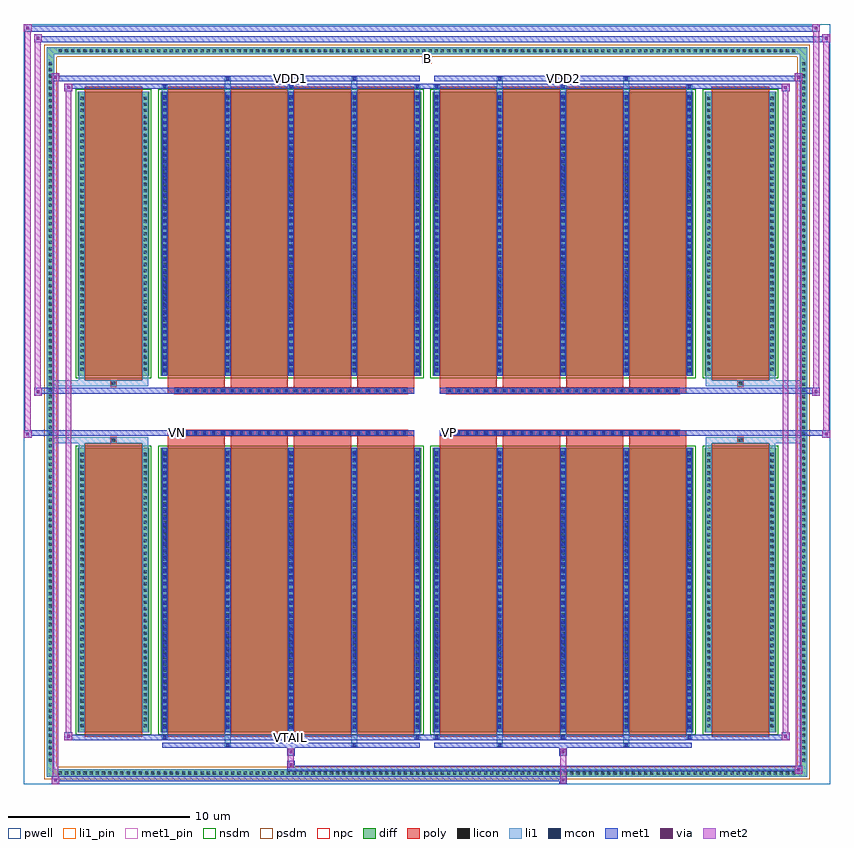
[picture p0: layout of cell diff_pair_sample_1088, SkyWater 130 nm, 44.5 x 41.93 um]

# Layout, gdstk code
import gdstk
lib = gdstk.Library(unit=1e-6, precision=5e-09)
def R(c, l, rs):  # rectangles x0, y0, x1, y1
    for r in rs: c.add(gdstk.rectangle(r[:2], r[2:], *l))
def A(c, l, x, y, w, h, nx, ny, dx, dy):  # array of equal rectangles
    R(c, l, [(x+i*dx, y+j*dy, x+i*dx+w, y+j*dy+h) for i in range(nx) for j in range(ny)])
def P(c, l, *ps):  # polygons
    for p in ps: c.add(gdstk.Polygon(p, *l))
pwell = (64, 44)
diff = (65, 20)
poly = (66, 20)
licon = (66, 44)
li1_pin = (67, 16)
li1 = (67, 20)
mcon = (67, 44)
met1_pin = (68, 16)
met1 = (68, 20)
via = (68, 44)
met2 = (69, 20)
nsdm = (93, 44)
psdm = (94, 20)
npc = (95, 20)

diff_pair_sample_1088 = lib.new_cell('diff_pair_sample_1088')
R(diff_pair_sample_1088, pwell, [(-22.25,-20.53,22.25,21.4), (-19.57,-18.72,-0.01,-0.8), (0.01,-18.72,19.57,-0.8), (-19.57,0.8,-0.01,18.72), (0.01,0.8,19.57,18.72)])
A(diff_pair_sample_1088, diff, -20.435, -20.13, 0.41, 0.41, 120, 2, 0.34, 39.85)
A(diff_pair_sample_1088, diff, -20.98, -19.415, 0.41, 0.41, 1, 114, 0, 0.34)
A(diff_pair_sample_1088, diff, 20.57, -19.415, 0.41, 0.41, 1, 114, 0, 0.34)
R(diff_pair_sample_1088, diff, [(-20.435,-20.13,20.435,-19.72), (-20.98,-19.415,-20.57,19.415), (20.57,-19.415,20.98,19.415), (-19.26,-17.675,-15.33,-1.985), (-14.69,-17.675,-0.32,-1.985), (0.32,-17.675,14.69,-1.985), (15.33,-17.675,19.26,-1.985), (-19.26,1.985,-15.33,17.675), (-14.69,1.985,-0.32,17.675), (0.32,1.985,14.69,17.675), (15.33,1.985,19.26,17.675), (-20.435,19.72,20.435,20.13)])
P(diff_pair_sample_1088, diff, [(20.98,20.13),(-20.98,20.13),(-20.98,-19.72),(-20.57,-19.72),(-20.57,19.72),(20.57,19.72),(20.57,-19.72),(-20.57,-19.72),(-20.98,-19.72),(-20.98,-20.13),(20.98,-20.13)])
A(diff_pair_sample_1088, poly, -14.3, -17.925, 3.15, 16.19, 4, 2, 3.48, 19.66)
A(diff_pair_sample_1088, poly, 0.71, -17.925, 3.15, 16.19, 4, 2, 3.48, 19.66)
A(diff_pair_sample_1088, poly, -14.3, -1.735, 3.15, 0.405, 4, 2, 3.48, 3.065)
A(diff_pair_sample_1088, poly, 0.71, -1.735, 3.15, 0.405, 4, 2, 3.48, 3.065)
A(diff_pair_sample_1088, poly, -13.92, -1.33, 0.33, 0.33, 26, 2, 0.5, 2.33)
A(diff_pair_sample_1088, poly, 1.09, -1.33, 0.33, 0.33, 26, 2, 0.5, 2.33)
R(diff_pair_sample_1088, poly, [(-18.87,-17.925,-15.72,-1.735), (15.72,-17.925,18.87,-1.735), (-17.46,-1.735,-17.13,-1.405), (-17.46,-1.735,-17.13,-1.405), (17.13,-1.735,17.46,-1.405), (17.13,-1.735,17.46,-1.405), (-14.3,-1.33,-0.71,-1), (0.71,-1.33,14.3,-1), (-14.3,1,-0.71,1.33), (0.71,1,14.3,1.33), (-17.46,1.405,-17.13,1.735), (-17.46,1.405,-17.13,1.735), (17.13,1.405,17.46,1.735), (17.13,1.405,17.46,1.735), (-18.87,1.735,-15.72,17.925), (15.72,1.735,18.87,17.925)])
A(diff_pair_sample_1088, licon, -20.315, -20.01, 0.17, 0.17, 120, 2, 0.34, 39.85)
A(diff_pair_sample_1088, licon, -20.86, -19.295, 0.17, 0.17, 1, 114, 0, 0.34)
A(diff_pair_sample_1088, licon, 20.69, -19.295, 0.17, 0.17, 1, 114, 0, 0.34)
A(diff_pair_sample_1088, licon, -19.12, -17.395, 0.17, 0.17, 1, 45, 0, 0.34)
A(diff_pair_sample_1088, licon, -15.64, -17.395, 0.17, 0.17, 1, 45, 0, 0.34)
A(diff_pair_sample_1088, licon, -14.55, -17.395, 0.17, 0.17, 5, 45, 3.48, 0.34)
A(diff_pair_sample_1088, licon, 0.46, -17.395, 0.17, 0.17, 5, 45, 3.48, 0.34)
A(diff_pair_sample_1088, licon, 15.47, -17.395, 0.17, 0.17, 1, 45, 0, 0.34)
A(diff_pair_sample_1088, licon, 18.95, -17.395, 0.17, 0.17, 1, 45, 0, 0.34)
A(diff_pair_sample_1088, licon, -13.84, -1.25, 0.17, 0.17, 26, 2, 0.5, 2.33)
A(diff_pair_sample_1088, licon, 1.17, -1.25, 0.17, 0.17, 26, 2, 0.5, 2.33)
A(diff_pair_sample_1088, licon, -19.12, 2.265, 0.17, 0.17, 1, 45, 0, 0.34)
A(diff_pair_sample_1088, licon, -15.64, 2.265, 0.17, 0.17, 1, 45, 0, 0.34)
A(diff_pair_sample_1088, licon, -14.55, 2.265, 0.17, 0.17, 5, 45, 3.48, 0.34)
A(diff_pair_sample_1088, licon, 0.46, 2.265, 0.17, 0.17, 5, 45, 3.48, 0.34)
A(diff_pair_sample_1088, licon, 15.47, 2.265, 0.17, 0.17, 1, 45, 0, 0.34)
A(diff_pair_sample_1088, licon, 18.95, 2.265, 0.17, 0.17, 1, 45, 0, 0.34)
R(diff_pair_sample_1088, licon, [(-17.38,-1.655,-17.21,-1.485), (17.21,-1.655,17.38,-1.485), (-17.38,1.485,-17.21,1.655), (17.21,1.485,17.38,1.655)])
R(diff_pair_sample_1088, li1_pin, [(-0.25,19.22,0.25,19.72)])
A(diff_pair_sample_1088, li1, -20.395, -20.09, 0.33, 0.33, 120, 2, 0.34, 39.85)
A(diff_pair_sample_1088, li1, -20.94, -19.375, 0.33, 0.33, 1, 114, 0, 0.34)
A(diff_pair_sample_1088, li1, 20.61, -19.375, 0.33, 0.33, 1, 114, 0, 0.34)
A(diff_pair_sample_1088, li1, -14.63, -18.05, 0.33, 0.375, 3, 2, 6.96, 35.725)
A(diff_pair_sample_1088, li1, -14.55, -18.05, 0.17, 0.17, 3, 2, 6.96, 35.93)
A(diff_pair_sample_1088, li1, 0.38, -18.05, 0.33, 0.375, 3, 2, 6.96, 35.725)
A(diff_pair_sample_1088, li1, 0.46, -18.05, 0.17, 0.17, 3, 2, 6.96, 35.93)
A(diff_pair_sample_1088, li1, -14.63, -17.675, 0.33, 15.69, 5, 2, 3.48, 19.66)
A(diff_pair_sample_1088, li1, 0.38, -17.675, 0.33, 15.69, 5, 2, 3.48, 19.66)
A(diff_pair_sample_1088, li1, -19.2, -17.475, 0.33, 0.33, 1, 45, 0, 0.34)
A(diff_pair_sample_1088, li1, -15.72, -17.475, 0.33, 0.33, 1, 45, 0, 0.34)
A(diff_pair_sample_1088, li1, -14.63, -17.475, 0.33, 0.33, 5, 45, 3.48, 0.34)
A(diff_pair_sample_1088, li1, -14.55, -17.475, 0.17, 0.17, 5, 43, 3.48, 0.36)
A(diff_pair_sample_1088, li1, -14.55, -17.475, 0.17, 15.29, 5, 2, 3.48, 19.66)
A(diff_pair_sample_1088, li1, 0.38, -17.475, 0.33, 0.33, 5, 45, 3.48, 0.34)
A(diff_pair_sample_1088, li1, 0.46, -17.475, 0.17, 0.17, 5, 43, 3.48, 0.36)
A(diff_pair_sample_1088, li1, 0.46, -17.475, 0.17, 15.29, 5, 2, 3.48, 19.66)
A(diff_pair_sample_1088, li1, 15.39, -17.475, 0.33, 0.33, 1, 45, 0, 0.34)
A(diff_pair_sample_1088, li1, 18.87, -17.475, 0.33, 0.33, 1, 45, 0, 0.34)
A(diff_pair_sample_1088, li1, -13.92, -1.33, 0.33, 0.33, 26, 2, 0.5, 2.33)
A(diff_pair_sample_1088, li1, 1.09, -1.33, 0.33, 0.33, 26, 2, 0.5, 2.33)
A(diff_pair_sample_1088, li1, -19.2, 2.185, 0.33, 0.33, 1, 45, 0, 0.34)
A(diff_pair_sample_1088, li1, -15.72, 2.185, 0.33, 0.33, 1, 45, 0, 0.34)
A(diff_pair_sample_1088, li1, -14.63, 2.185, 0.33, 0.33, 5, 45, 3.48, 0.34)
A(diff_pair_sample_1088, li1, -14.55, 2.185, 0.17, 0.17, 5, 43, 3.48, 0.36)
A(diff_pair_sample_1088, li1, 0.38, 2.185, 0.33, 0.33, 5, 45, 3.48, 0.34)
A(diff_pair_sample_1088, li1, 0.46, 2.185, 0.17, 0.17, 5, 43, 3.48, 0.36)
A(diff_pair_sample_1088, li1, 15.39, 2.185, 0.33, 0.33, 1, 45, 0, 0.34)
A(diff_pair_sample_1088, li1, 18.87, 2.185, 0.33, 0.33, 1, 45, 0, 0.34)
R(diff_pair_sample_1088, li1, [(-20.98,-20.13,-20.57,-19.72), (-20.98,-20.13,-20.57,-19.72), (-20.57,-20.13,20.57,-19.72), (20.57,-20.13,20.98,-19.72), (20.57,-20.13,20.98,-19.72), (-20.98,-19.72,-20.57,19.72), (20.57,-19.72,20.98,19.72), (-11.15,-18.48,-10.82,-17.675), (-11.07,-18.48,-10.9,-18.31), (-4.19,-18.48,-3.86,-17.675), (-4.11,-18.48,-3.94,-18.31), (3.86,-18.48,4.19,-17.675), (3.94,-18.48,4.11,-18.31), (10.82,-18.48,11.15,-17.675), (10.9,-18.48,11.07,-18.31), (-19.2,-17.675,-18.87,-1.985), (-15.72,-17.675,-15.39,-1.985), (15.39,-17.675,15.72,-1.985), (18.87,-17.675,19.2,-1.985), (-19.2,-1.985,-18.87,-1.405), (-15.72,-1.985,-15.39,-1.405), (15.39,-1.985,15.72,-1.405), (18.87,-1.985,19.2,-1.405), (-20.98,-1.735,-17.46,-1.405), (-19.2,-1.735,-17.46,-1.405), (-17.46,-1.735,-17.13,-1.405), (-17.13,-1.735,-15.39,-1.405), (15.39,-1.735,17.13,-1.405), (17.13,-1.735,17.46,-1.405), (17.13,-1.735,20.98,-1.405), (17.46,-1.735,19.2,-1.405), (-20.98,1.405,-17.46,1.735), (-19.2,1.405,-17.46,1.735), (-19.2,1.405,-18.87,1.985), (-17.46,1.405,-17.13,1.735), (-17.13,1.405,-15.39,1.735), (-15.72,1.405,-15.39,1.985), (15.39,1.405,17.13,1.735), (15.39,1.405,15.72,1.985), (17.13,1.405,17.46,1.735), (17.13,1.405,20.98,1.735), (17.46,1.405,19.2,1.735), (18.87,1.405,19.2,1.985), (-19.2,1.985,-18.87,17.675), (-15.72,1.985,-15.39,17.675), (15.39,1.985,15.72,17.675), (18.87,1.985,19.2,17.675), (-11.15,17.675,-10.82,18.48), (-4.19,17.675,-3.86,18.48), (3.86,17.675,4.19,18.48), (10.82,17.675,11.15,18.48), (-11.07,18.31,-10.9,18.48), (-4.11,18.31,-3.94,18.48), (3.94,18.31,4.11,18.48), (10.9,18.31,11.07,18.48), (-20.98,19.72,-20.57,20.13), (-20.98,19.72,-20.57,20.13), (-20.57,19.72,20.57,20.13), (20.57,19.72,20.98,20.13), (20.57,19.72,20.98,20.13)])
A(diff_pair_sample_1088, mcon, -14.55, -18.05, 0.17, 0.17, 3, 2, 6.96, 35.93)
A(diff_pair_sample_1088, mcon, 0.46, -18.05, 0.17, 0.17, 3, 2, 6.96, 35.93)
A(diff_pair_sample_1088, mcon, -14.55, -17.475, 0.17, 0.17, 5, 43, 3.48, 0.36)
A(diff_pair_sample_1088, mcon, 0.46, -17.475, 0.17, 0.17, 5, 43, 3.48, 0.36)
A(diff_pair_sample_1088, mcon, -13.84, -1.25, 0.17, 0.17, 26, 2, 0.5, 2.33)
A(diff_pair_sample_1088, mcon, 1.17, -1.25, 0.17, 0.17, 26, 2, 0.5, 2.33)
A(diff_pair_sample_1088, mcon, -14.55, 2.185, 0.17, 0.17, 5, 43, 3.48, 0.36)
A(diff_pair_sample_1088, mcon, 0.46, 2.185, 0.17, 0.17, 5, 43, 3.48, 0.36)
R(diff_pair_sample_1088, mcon, [(-11.07,-18.48,-10.9,-18.31), (-4.11,-18.48,-3.94,-18.31), (3.94,-18.48,4.11,-18.31), (10.9,-18.48,11.07,-18.31), (-11.07,18.31,-10.9,18.48), (-4.11,18.31,-3.94,18.48), (3.94,18.31,4.11,18.48), (10.9,18.31,11.07,18.48)])
R(diff_pair_sample_1088, met1_pin, [(-7.64,-18.09,-7.37,-17.82), (-13.89,-1.29,-13.62,-1.02), (1.12,-1.29,1.39,-1.02), (-7.64,18.27,-7.37,18.54), (7.37,18.27,7.64,18.54)])
A(diff_pair_sample_1088, met1, -14.61, -18.11, 0.29, 0.29, 3, 2, 6.96, 35.93)
A(diff_pair_sample_1088, met1, 0.4, -18.11, 0.29, 0.29, 3, 2, 6.96, 35.93)
A(diff_pair_sample_1088, met1, -14.61, -17.675, 0.29, 15.69, 5, 2, 3.48, 19.66)
A(diff_pair_sample_1088, met1, 0.4, -17.675, 0.29, 15.69, 5, 2, 3.48, 19.66)
A(diff_pair_sample_1088, met1, -14.61, -17.535, 0.29, 0.29, 5, 43, 3.48, 0.36)
A(diff_pair_sample_1088, met1, 0.4, -17.535, 0.29, 0.29, 5, 43, 3.48, 0.36)
A(diff_pair_sample_1088, met1, -13.9, -1.31, 0.29, 0.29, 26, 2, 0.5, 2.33)
A(diff_pair_sample_1088, met1, 1.11, -1.31, 0.29, 0.29, 26, 2, 0.5, 2.33)
A(diff_pair_sample_1088, met1, -14.61, 2.125, 0.29, 0.29, 5, 43, 3.48, 0.36)
A(diff_pair_sample_1088, met1, 0.4, 2.125, 0.29, 0.29, 5, 43, 3.48, 0.36)
R(diff_pair_sample_1088, met1, [(-20.71,-20.53,-20.28,-20.1), (7.29,-20.53,7.72,-20.1), (-20.71,-20.39,7.72,-20.1), (20.28,-19.96,20.71,-19.53), (-7.72,-19.82,20.71,-19.53), (-7.72,-19.68,-7.29,-19.25), (-7.72,-18.97,-7.29,-18.54), (7.29,-18.97,7.72,-18.54), (-14.61,-18.54,-0.4,-18.25), (-11.13,-18.54,-10.84,-18.25), (-4.17,-18.54,-3.88,-18.25), (0.4,-18.54,14.61,-18.25), (3.88,-18.54,4.17,-18.25), (10.84,-18.54,11.13,-18.25), (-20,-18.11,-19.57,-17.68), (-20,-18.11,-14.61,-17.82), (-14.61,-18.11,-0.4,-17.82), (-0.4,-18.11,0.4,-17.82), (0.4,-18.11,14.61,-17.82), (14.61,-18.11,20,-17.82), (19.57,-18.11,20,-17.68), (-22.25,-1.43,-21.82,-1), (21.82,-1.43,22.25,-1), (-22.25,-1.33,-0.71,-1), (-14.3,-1.33,-0.71,-1), (0.71,-1.33,14.3,-1), (0.71,-1.33,22.25,-1), (-21.68,0.9,-21.25,1.33), (21.25,0.9,21.68,1.33), (-21.68,1,-14.3,1.33), (-14.3,1,-0.71,1.33), (0.71,1,14.3,1.33), (14.3,1,21.68,1.33), (-20,17.68,-19.57,18.11), (19.57,17.68,20,18.11), (-20,17.82,-14.61,18.11), (-14.61,17.82,-0.4,18.11), (-0.4,17.82,0.4,18.11), (0.4,17.82,14.61,18.11), (14.61,17.82,20,18.11), (-20.71,18.25,-20.28,18.68), (-20.71,18.25,-14.61,18.54), (-14.61,18.25,-0.4,18.54), (-11.13,18.25,-10.84,18.54), (-4.17,18.25,-3.88,18.54), (0.4,18.25,14.61,18.54), (3.88,18.25,4.17,18.54), (10.84,18.25,11.13,18.54), (14.61,18.25,20.71,18.54), (20.28,18.25,20.71,18.68), (-21.68,20.4,-21.25,20.83), (-21.68,20.4,-19.57,20.73), (-19.57,20.4,19.57,20.73), (19.57,20.4,22.25,20.73), (21.82,20.4,22.25,20.83), (-22.25,20.97,-21.82,21.4), (-22.25,20.97,-19.57,21.3), (-19.57,20.97,19.57,21.3), (19.57,20.97,21.68,21.3), (21.25,20.97,21.68,21.4)])
R(diff_pair_sample_1088, via, [(-20.57,-20.39,-20.42,-20.24), (7.43,-20.39,7.58,-20.24), (20.42,-19.82,20.57,-19.67), (-7.58,-19.54,-7.43,-19.39), (-7.58,-18.83,-7.43,-18.68), (7.43,-18.83,7.58,-18.68), (-19.86,-17.97,-19.71,-17.82), (19.71,-17.97,19.86,-17.82), (-22.11,-1.29,-21.96,-1.14), (21.96,-1.29,22.11,-1.14), (-21.54,1.04,-21.39,1.19), (21.39,1.04,21.54,1.19), (-19.86,17.82,-19.71,17.97), (19.71,17.82,19.86,17.97), (-20.57,18.39,-20.42,18.54), (20.42,18.39,20.57,18.54), (-21.54,20.54,-21.39,20.69), (21.96,20.54,22.11,20.69), (-22.11,21.11,-21.96,21.26), (21.39,21.11,21.54,21.26)])
R(diff_pair_sample_1088, met2, [(-20.71,-20.53,-20.28,-20.1), (-20.64,-20.53,-20.35,18.68), (-20.35,-20.53,-20.28,-20.1), (-20.66,-20.48,-20.33,-20.15), (7.34,-20.48,7.67,-20.15), (7.34,-20.15,7.67,-18.92), (20.28,-19.96,20.71,-19.53), (20.35,-19.96,20.64,18.68), (20.64,-19.96,20.71,-19.53), (20.33,-19.91,20.66,-19.58), (-7.67,-19.63,-7.34,-19.3), (-7.67,-19.3,-7.34,-18.92), (-7.67,-18.92,-7.34,-18.59), (7.34,-18.92,7.67,-18.59), (-20,-18.11,-19.57,-17.68), (-19.93,-18.11,-19.64,18.11), (-19.64,-18.11,-19.57,-17.68), (19.57,-18.11,20,-17.68), (19.64,-18.11,19.93,18.11), (19.93,-18.11,20,-17.68), (-19.95,-18.06,-19.62,-17.73), (19.62,-18.06,19.95,-17.73), (-22.25,-1.43,-21.82,-1), (-22.2,-1.43,-21.87,21.4), (-21.87,-1.43,-21.82,-1), (21.82,-1.43,22.25,-1), (21.87,-1.43,22.2,20.83), (22.2,-1.43,22.25,-1), (-22.2,-1.38,-21.87,-1.05), (21.87,-1.38,22.2,-1.05), (-21.68,0.9,-21.25,1.33), (-21.63,0.9,-21.3,20.83), (-21.3,0.9,-21.25,1.33), (21.25,0.9,21.68,1.33), (21.3,0.9,21.63,21.4), (21.63,0.9,21.68,1.33), (-21.63,0.95,-21.3,1.28), (21.3,0.95,21.63,1.28), (-20,17.68,-19.57,18.11), (-19.64,17.68,-19.57,18.11), (19.57,17.68,20,18.11), (19.93,17.68,20,18.11), (-19.95,17.73,-19.62,18.06), (19.62,17.73,19.95,18.06), (-20.71,18.25,-20.28,18.68), (-20.35,18.25,-20.28,18.68), (20.28,18.25,20.71,18.68), (20.64,18.25,20.71,18.68), (-20.66,18.3,-20.33,18.63), (20.33,18.3,20.66,18.63), (-21.68,20.4,-21.25,20.83), (-21.3,20.4,-21.25,20.83), (21.82,20.4,22.25,20.83), (22.2,20.4,22.25,20.83), (-21.63,20.45,-21.3,20.78), (21.87,20.45,22.2,20.78), (-22.25,20.97,-21.82,21.4), (-21.87,20.97,-21.82,21.4), (21.25,20.97,21.68,21.4), (21.63,20.97,21.68,21.4), (-22.2,21.02,-21.87,21.35), (21.3,21.02,21.63,21.35)])
R(diff_pair_sample_1088, nsdm, [(-19.39,-17.805,-15.2,-1.855), (-14.82,-17.805,-0.19,-1.855), (0.19,-17.805,14.82,-1.855), (15.2,-17.805,19.39,-1.855), (-19.39,1.855,-15.2,17.805), (-14.82,1.855,-0.19,17.805), (0.19,1.855,14.82,17.805), (15.2,1.855,19.39,17.805)])
P(diff_pair_sample_1088, psdm, [(21.11,20.26),(-21.11,20.26),(-21.11,-19.59),(-20.44,-19.59),(-20.44,19.59),(20.44,19.59),(20.44,-19.59),(-20.44,-19.59),(-21.11,-19.59),(-21.11,-20.26),(21.11,-20.26)])
A(diff_pair_sample_1088, npc, -13.94, -1.35, 0.37, 0.37, 26, 2, 0.5, 2.33)
A(diff_pair_sample_1088, npc, 1.07, -1.35, 0.37, 0.37, 26, 2, 0.5, 2.33)
R(diff_pair_sample_1088, npc, [(-17.48,-1.755,-17.11,-1.385), (17.11,-1.755,17.48,-1.385), (-13.94,-1.35,-13.07,-0.98), (-13.94,-1.35,-13.07,-0.98), (-13.44,-1.35,-12.57,-0.98), (-13.44,-1.35,-12.57,-0.98), (-12.94,-1.35,-12.07,-0.98), (-12.94,-1.35,-12.07,-0.98), (-12.44,-1.35,-11.57,-0.98), (-12.44,-1.35,-11.57,-0.98), (-11.94,-1.35,-11.07,-0.98), (-11.94,-1.35,-11.07,-0.98), (-11.44,-1.35,-10.57,-0.98), (-11.44,-1.35,-10.57,-0.98), (-10.94,-1.35,-10.07,-0.98), (-10.94,-1.35,-10.07,-0.98), (-10.44,-1.35,-9.57,-0.98), (-10.44,-1.35,-9.57,-0.98), (-9.94,-1.35,-9.07,-0.98), (-9.94,-1.35,-9.07,-0.98), (-9.44,-1.35,-8.57,-0.98), (-9.44,-1.35,-8.57,-0.98), (-8.94,-1.35,-8.07,-0.98), (-8.94,-1.35,-8.07,-0.98), (-8.44,-1.35,-7.57,-0.98), (-8.44,-1.35,-7.57,-0.98), (-7.94,-1.35,-7.07,-0.98), (-7.94,-1.35,-7.07,-0.98), (-7.44,-1.35,-6.57,-0.98), (-7.44,-1.35,-6.57,-0.98), (-6.94,-1.35,-6.07,-0.98), (-6.94,-1.35,-6.07,-0.98), (-6.44,-1.35,-5.57,-0.98), (-6.44,-1.35,-5.57,-0.98), (-5.94,-1.35,-5.07,-0.98), (-5.94,-1.35,-5.07,-0.98), (-5.44,-1.35,-4.57,-0.98), (-5.44,-1.35,-4.57,-0.98), (-4.94,-1.35,-4.07,-0.98), (-4.94,-1.35,-4.07,-0.98), (-4.44,-1.35,-3.57,-0.98), (-4.44,-1.35,-3.57,-0.98), (-3.94,-1.35,-3.07,-0.98), (-3.94,-1.35,-3.07,-0.98), (-3.44,-1.35,-2.57,-0.98), (-3.44,-1.35,-2.57,-0.98), (-2.94,-1.35,-2.07,-0.98), (-2.94,-1.35,-2.07,-0.98), (-2.44,-1.35,-1.57,-0.98), (-2.44,-1.35,-1.57,-0.98), (-1.94,-1.35,-1.07,-0.98), (-1.94,-1.35,-1.07,-0.98), (1.07,-1.35,1.94,-0.98), (1.07,-1.35,1.94,-0.98), (1.57,-1.35,2.44,-0.98), (1.57,-1.35,2.44,-0.98), (2.07,-1.35,2.94,-0.98), (2.07,-1.35,2.94,-0.98), (2.57,-1.35,3.44,-0.98), (2.57,-1.35,3.44,-0.98), (3.07,-1.35,3.94,-0.98), (3.07,-1.35,3.94,-0.98), (3.57,-1.35,4.44,-0.98), (3.57,-1.35,4.44,-0.98), (4.07,-1.35,4.94,-0.98), (4.07,-1.35,4.94,-0.98), (4.57,-1.35,5.44,-0.98), (4.57,-1.35,5.44,-0.98), (5.07,-1.35,5.94,-0.98), (5.07,-1.35,5.94,-0.98), (5.57,-1.35,6.44,-0.98), (5.57,-1.35,6.44,-0.98), (6.07,-1.35,6.94,-0.98), (6.07,-1.35,6.94,-0.98), (6.57,-1.35,7.44,-0.98), (6.57,-1.35,7.44,-0.98), (7.07,-1.35,7.94,-0.98), (7.07,-1.35,7.94,-0.98), (7.57,-1.35,8.44,-0.98), (7.57,-1.35,8.44,-0.98), (8.07,-1.35,8.94,-0.98), (8.07,-1.35,8.94,-0.98), (8.57,-1.35,9.44,-0.98), (8.57,-1.35,9.44,-0.98), (9.07,-1.35,9.94,-0.98), (9.07,-1.35,9.94,-0.98), (9.57,-1.35,10.44,-0.98), (9.57,-1.35,10.44,-0.98), (10.07,-1.35,10.94,-0.98), (10.07,-1.35,10.94,-0.98), (10.57,-1.35,11.44,-0.98), (10.57,-1.35,11.44,-0.98), (11.07,-1.35,11.94,-0.98), (11.07,-1.35,11.94,-0.98), (11.57,-1.35,12.44,-0.98), (11.57,-1.35,12.44,-0.98), (12.07,-1.35,12.94,-0.98), (12.07,-1.35,12.94,-0.98), (12.57,-1.35,13.44,-0.98), (12.57,-1.35,13.44,-0.98), (13.07,-1.35,13.94,-0.98), (13.07,-1.35,13.94,-0.98), (-13.94,0.98,-13.07,1.35), (-13.94,0.98,-13.07,1.35), (-13.44,0.98,-12.57,1.35), (-13.44,0.98,-12.57,1.35), (-12.94,0.98,-12.07,1.35), (-12.94,0.98,-12.07,1.35), (-12.44,0.98,-11.57,1.35), (-12.44,0.98,-11.57,1.35), (-11.94,0.98,-11.07,1.35), (-11.94,0.98,-11.07,1.35), (-11.44,0.98,-10.57,1.35), (-11.44,0.98,-10.57,1.35), (-10.94,0.98,-10.07,1.35), (-10.94,0.98,-10.07,1.35), (-10.44,0.98,-9.57,1.35), (-10.44,0.98,-9.57,1.35), (-9.94,0.98,-9.07,1.35), (-9.94,0.98,-9.07,1.35), (-9.44,0.98,-8.57,1.35), (-9.44,0.98,-8.57,1.35), (-8.94,0.98,-8.07,1.35), (-8.94,0.98,-8.07,1.35), (-8.44,0.98,-7.57,1.35), (-8.44,0.98,-7.57,1.35), (-7.94,0.98,-7.07,1.35), (-7.94,0.98,-7.07,1.35), (-7.44,0.98,-6.57,1.35), (-7.44,0.98,-6.57,1.35), (-6.94,0.98,-6.07,1.35), (-6.94,0.98,-6.07,1.35), (-6.44,0.98,-5.57,1.35), (-6.44,0.98,-5.57,1.35), (-5.94,0.98,-5.07,1.35), (-5.94,0.98,-5.07,1.35), (-5.44,0.98,-4.57,1.35), (-5.44,0.98,-4.57,1.35), (-4.94,0.98,-4.07,1.35), (-4.94,0.98,-4.07,1.35), (-4.44,0.98,-3.57,1.35), (-4.44,0.98,-3.57,1.35), (-3.94,0.98,-3.07,1.35), (-3.94,0.98,-3.07,1.35), (-3.44,0.98,-2.57,1.35), (-3.44,0.98,-2.57,1.35), (-2.94,0.98,-2.07,1.35), (-2.94,0.98,-2.07,1.35), (-2.44,0.98,-1.57,1.35), (-2.44,0.98,-1.57,1.35), (-1.94,0.98,-1.07,1.35), (-1.94,0.98,-1.07,1.35), (1.07,0.98,1.94,1.35), (1.07,0.98,1.94,1.35), (1.57,0.98,2.44,1.35), (1.57,0.98,2.44,1.35), (2.07,0.98,2.94,1.35), (2.07,0.98,2.94,1.35), (2.57,0.98,3.44,1.35), (2.57,0.98,3.44,1.35), (3.07,0.98,3.94,1.35), (3.07,0.98,3.94,1.35), (3.57,0.98,4.44,1.35), (3.57,0.98,4.44,1.35), (4.07,0.98,4.94,1.35), (4.07,0.98,4.94,1.35), (4.57,0.98,5.44,1.35), (4.57,0.98,5.44,1.35), (5.07,0.98,5.94,1.35), (5.07,0.98,5.94,1.35), (5.57,0.98,6.44,1.35), (5.57,0.98,6.44,1.35), (6.07,0.98,6.94,1.35), (6.07,0.98,6.94,1.35), (6.57,0.98,7.44,1.35), (6.57,0.98,7.44,1.35), (7.07,0.98,7.94,1.35), (7.07,0.98,7.94,1.35), (7.57,0.98,8.44,1.35), (7.57,0.98,8.44,1.35), (8.07,0.98,8.94,1.35), (8.07,0.98,8.94,1.35), (8.57,0.98,9.44,1.35), (8.57,0.98,9.44,1.35), (9.07,0.98,9.94,1.35), (9.07,0.98,9.94,1.35), (9.57,0.98,10.44,1.35), (9.57,0.98,10.44,1.35), (10.07,0.98,10.94,1.35), (10.07,0.98,10.94,1.35), (10.57,0.98,11.44,1.35), (10.57,0.98,11.44,1.35), (11.07,0.98,11.94,1.35), (11.07,0.98,11.94,1.35), (11.57,0.98,12.44,1.35), (11.57,0.98,12.44,1.35), (12.07,0.98,12.94,1.35), (12.07,0.98,12.94,1.35), (12.57,0.98,13.44,1.35), (12.57,0.98,13.44,1.35), (13.07,0.98,13.94,1.35), (13.07,0.98,13.94,1.35), (-17.48,1.385,-17.11,1.755), (17.11,1.385,17.48,1.755)])
diff_pair_sample_1088.add(gdstk.Label('VTAIL', (-7.505,-17.955), layer=68, texttype=5))
diff_pair_sample_1088.add(gdstk.Label('VN', (-13.755,-1.155), layer=68, texttype=5))
diff_pair_sample_1088.add(gdstk.Label('VP', (1.255,-1.155), layer=68, texttype=5))
diff_pair_sample_1088.add(gdstk.Label('B', (0,19.47), layer=67, texttype=5))
diff_pair_sample_1088.add(gdstk.Label('VDD2', (7.505,18.405), layer=68, texttype=5))
diff_pair_sample_1088.add(gdstk.Label('VDD1', (-7.505,18.405), layer=68, texttype=5))

lib.write_gds('diff_pair_sample_1088.gds')
